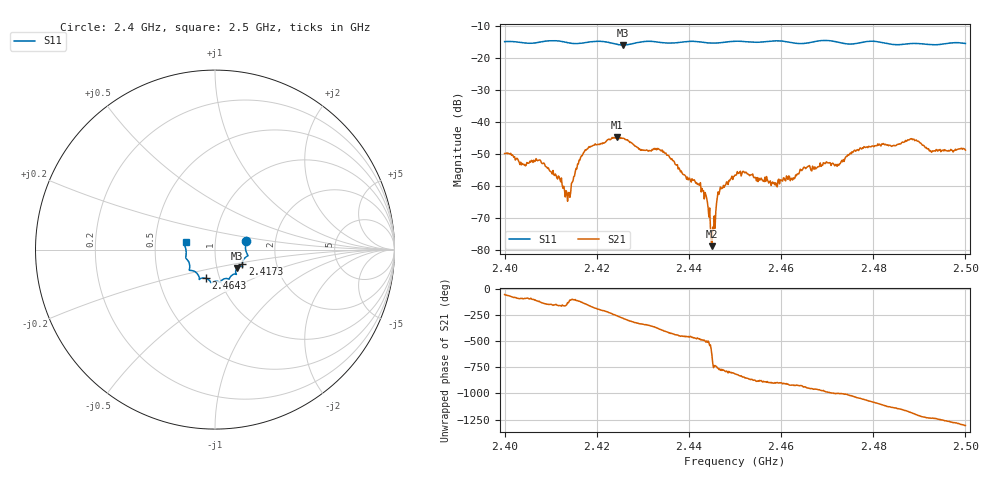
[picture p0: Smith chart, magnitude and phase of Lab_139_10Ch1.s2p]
# Hz S RI R 50
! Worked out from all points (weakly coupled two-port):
!   601 points, 2.4 GHz to 2.5 GHz, reference 50 ohm
!   highest |S21| = -44.66 dB at 2.4243 GHz (marker M1); lowest = -78.9 dB at 2.445 GHz (marker M2)
!   lowest |S11| = -15.9 dB at 2.4257 GHz (marker M3), VSWR 1.38, Z = 62.4 - j13.1 ohm
!   |S11| at or under -10 dB: start of sweep to end of sweep
!   S12 and S22 are empty: the file has one direction only
!   S11 on the Smith chart (normalised r, x): 2.4 GHz: 1.41, +0.14; 2.4173 GHz: 1.34, -0.23; 2.4643 GHz: 0.86, -0.28; 2.5 GHz: 0.72, +0.06
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2.4e9  0.1736 0.0495  0.00197 -0.00253  0 0  0 0
2.404167e9  0.1711 0.0233  -7.53e-05 -0.00214  0 0  0 0
2.408e9  0.178 -0.0212  -0.00149 -0.00174  0 0  0 0
2.413667e9  0.1684 -0.0441  -0.000362 -0.000446  0 0  0 0
2.416667e9  0.1528 -0.0749  -0.00174 -0.00237  0 0  0 0
2.417333e9  0.1523 -0.0824  -0.00262 -0.00226  0 0  0 0
2.424333e9  0.1333 -0.095  -0.00149 0.00565  0 0  0 0
2.425667e9  0.1225 -0.1024  0.00083 0.0055  0 0  0 0
2.433333e9  0.1127 -0.1365  0.00364 -0.00118  0 0  0 0
2.442667e9  0.0716 -0.1624  -0.000433 -0.000676  0 0  0 0
2.444e9  0.063 -0.1608  -0.000486 -0.000281  0 0  0 0
2.445e9  0.0553 -0.1618  1.32e-05 0.000113  0 0  0 0
2.445333e9  0.0525 -0.1626  0.000169 -0.000109  0 0  0 0
2.446667e9  0.0421 -0.1679  0.000574 -0.000591  0 0  0 0
2.45e9  0.0295 -0.1809  -6.98e-05 -0.00148  0 0  0 0
2.458667e9  -0.0209 -0.1844  -0.00104 -7.42e-05  0 0  0 0
2.464333e9  -0.0503 -0.1603  -0.00162 0.000692  0 0  0 0
2.466667e9  -0.0763 -0.1595  -0.00103 0.00137  0 0  0 0
2.483333e9  -0.1409 -0.0893  0.00283 -0.00316  0 0  0 0
2.488333e9  -0.1612 -0.0494  -0.00143 -0.00528  0 0  0 0
2.492667e9  -0.1606 -0.0177  -0.00308 -0.00131  0 0  0 0
2.5e9  -0.1636 0.0416  -0.0025 0.00264  0 0  0 0
